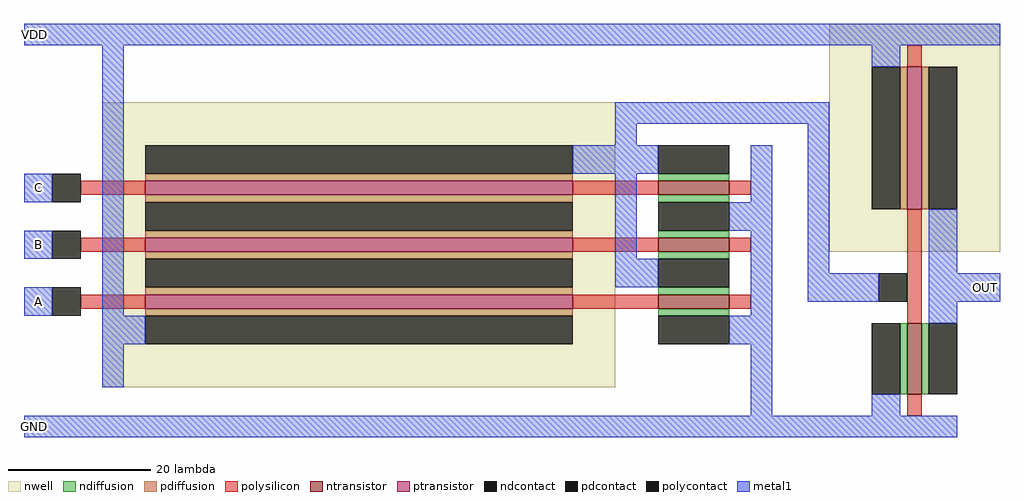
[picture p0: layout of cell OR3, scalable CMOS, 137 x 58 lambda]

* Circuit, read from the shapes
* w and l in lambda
.subckt OR3 A B C GND OUT VDD
M1 n1 A GND VSUBS nfet w=10 l=2
M2 GND B n1 VSUBS nfet w=10 l=2
M3 n1 C GND VSUBS nfet w=10 l=2
M4 OUT n1 GND VSUBS nfet w=10 l=2
M5 n2 A VDD n3 pfet w=60 l=2
M6 n4 B n2 n3 pfet w=60 l=2
M7 n1 C n4 n3 pfet w=60 l=2
M8 OUT n1 VDD n5 pfet w=20 l=2
.ends

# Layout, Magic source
magic
tech scmos
<< nwell >>
rect 11 0 83 40
rect 113 19 137 51
<< ntransistor >>
rect 89 27 99 29
rect 89 19 99 21
rect 89 11 99 13
rect 124 -1 126 9
<< ptransistor >>
rect 17 27 77 29
rect 124 25 126 45
rect 17 19 77 21
rect 17 11 77 13
<< ndiffusion >>
rect 89 29 99 30
rect 89 26 99 27
rect 89 21 99 22
rect 89 18 99 19
rect 89 13 99 14
rect 89 10 99 11
rect 123 -1 124 9
rect 126 -1 127 9
<< pdiffusion >>
rect 17 29 77 30
rect 17 26 77 27
rect 17 21 77 22
rect 123 25 124 45
rect 126 25 127 45
rect 17 18 77 19
rect 17 13 77 14
rect 17 10 77 11
<< ndcontact >>
rect 89 30 99 34
rect 89 22 99 26
rect 89 14 99 18
rect 89 6 99 10
rect 119 -1 123 9
rect 127 -1 131 9
<< pdcontact >>
rect 17 30 77 34
rect 17 22 77 26
rect 119 25 123 45
rect 127 25 131 45
rect 17 14 77 18
rect 17 6 77 10
<< polysilicon >>
rect 124 45 126 48
rect 8 27 17 29
rect 77 27 89 29
rect 99 27 102 29
rect 8 19 17 21
rect 77 19 89 21
rect 99 19 102 21
rect 8 11 17 13
rect 77 11 89 13
rect 99 11 102 13
rect 124 9 126 25
rect 124 -4 126 -1
<< polycontact >>
rect 4 26 8 30
rect 4 18 8 22
rect 4 10 8 14
rect 120 12 124 16
<< metal1 >>
rect 0 48 137 51
rect 0 26 4 30
rect 0 18 4 22
rect 0 10 4 14
rect 11 10 14 48
rect 119 45 123 48
rect 83 37 113 40
rect 83 34 86 37
rect 77 30 89 34
rect 83 18 86 30
rect 102 26 105 34
rect 99 22 105 26
rect 83 14 89 18
rect 102 10 105 22
rect 110 16 113 37
rect 127 16 131 25
rect 110 12 120 16
rect 127 12 137 16
rect 11 6 17 10
rect 99 6 105 10
rect 127 9 131 12
rect 11 0 14 6
rect 102 -4 105 6
rect 119 -4 123 -1
rect 0 -7 131 -4
<< labels >>
rlabel metal1 0 10 4 14 3 A
rlabel metal1 0 18 4 22 3 B
rlabel metal1 0 26 4 30 3 C
rlabel metal1 133 12 137 16 7 OUT
rlabel metal1 0 48 3 51 4 VDD
rlabel metal1 0 -7 3 -4 2 GND
<< end >>
